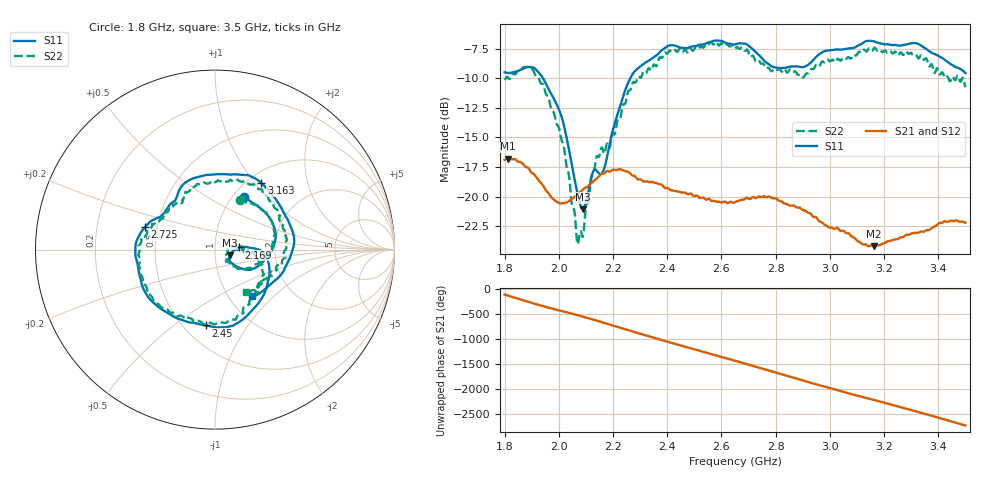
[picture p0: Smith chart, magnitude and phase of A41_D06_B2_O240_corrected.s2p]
! Created with skrf 1.9.0 (http://scikit-rf.org).
# Hz S RI R 50.0
!freq ReS11 ImS11 ReS21 ImS21 ReS12 ImS12 ReS22 ImS22
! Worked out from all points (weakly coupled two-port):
!   1601 points, 1.8 GHz to 3.5 GHz, reference 50 ohm
!   highest |S21| = -16.79 dB at 1.812 GHz (marker M1); lowest = -24.2 dB at 3.163 GHz (marker M2)
!   lowest |S11| = -21.1 dB at 2.09 GHz (marker M3), VSWR 1.19, Z = 58.8 - j3.85 ohm
!   |S11| at or under -10 dB: 1.942 GHz to 2.264 GHz (321.7 MHz wide, 15.3 % of centre)
!   |S22| runs from -24.0 to -6.9 dB; largest |S21 - S12| = 0.0024
!   S11 on the Smith chart (normalised r, x): 1.8 GHz: 1.12, +0.74; 2.169 GHz: 1.30, +0.03; 2.45 GHz: 0.64, -0.66; 2.725 GHz: 0.43, +0.13; 3.163 GHz: 1.15, +1.08; 3.5 GHz: 1.28, -0.75
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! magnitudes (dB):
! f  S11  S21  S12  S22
! 1.8 GHz  -9.5  -16.9  -16.9  -10.1
! 1.812 GHz  -9.5  -16.8  -16.8  -9.9
! 1.882 GHz  -9.1  -17.5  -17.5  -9.0
! 1.942 GHz  -10.0  -19.1  -19.1  -10.5
! 2.011 GHz  -13.3  -20.6  -20.6  -15.3
! 2.067 GHz  -19.5  -19.8  -19.8  -23.7
! 2.084 GHz  -21.0  -19.5  -19.5  -23.1
! 2.09 GHz  -21.1  -19.4  -19.4  -23.3
! 2.134 GHz  -17.7  -18.6  -18.6  -17.3
! 2.169 GHz  -17.5  -18.0  -18.0  -16.4
! 2.205 GHz  -14.0  -17.7  -17.7  -14.8
! 2.26 GHz  -10.2  -18.0  -18.0  -11.0
! 2.367 GHz  -7.9  -18.9  -18.9  -8.5
! 2.45 GHz  -7.4  -19.6  -19.6  -7.6
! 2.65 GHz  -7.1  -20.5  -20.5  -7.5
! 2.725 GHz  -7.8  -20.1  -20.1  -8.5
! 2.805 GHz  -9.1  -20.2  -20.2  -9.3
! 2.934 GHz  -8.6  -21.6  -21.6  -9.2
! 3.163 GHz  -6.9  -24.2  -24.1  -7.4
! 3.217 GHz  -7.2  -23.8  -23.7  -7.7
! 3.324 GHz  -7.1  -23.1  -23.0  -8.2
! 3.5 GHz  -9.6  -22.2  -22.2  -10.8
